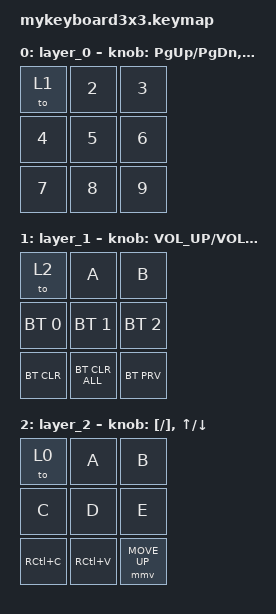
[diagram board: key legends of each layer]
#include <behaviors.dtsi>
#include <dt-bindings/zmk/bt.h>
#include <dt-bindings/zmk/keys.h>
#include <dt-bindings/zmk/pointing.h>

/ {
    behaviors {
        // 第一个编码器的行为

        rot_kp_1: sensor_rotate_kp_1 {
            compatible = "zmk,behavior-sensor-rotate-var";
            #sensor-binding-cells = <2>;
            bindings = <&kp>, <&kp>;
        };

        // 第二个编码器的行为

        rot_kp_2: sensor_rotate_kp_2 {
            compatible = "zmk,behavior-sensor-rotate-var";
            #sensor-binding-cells = <2>;
            bindings = <&kp>, <&kp>;
        };
    };

    keymap {
        compatible = "zmk,keymap";

        layer_0 {
            bindings = <
&to 1   &kp N2  &kp N3
&kp N4  &kp N5  &kp N6
&kp N7  &kp N8  &kp N9
            >;

            // 第一个编码器的绑定

            sensor-bindings =
                <&rot_kp_1 PG_UP PG_DN>,
                // 编码器1：旋转触发 PG_UP 和 PG_DN,,,
                <&rot_kp_2 LEFT RIGHT>;

            // 编码器2：旋转触发 LEFT 和 RIGHT
        };

        layer_1 {
            bindings = <
&to 2         &kp A           &kp B
&bt BT_SEL 0  &bt BT_SEL 1    &bt BT_SEL 2
&bt BT_CLR    &bt BT_CLR_ALL  &bt BT_PRV
            >;

            sensor-bindings =
                <&inc_dec_kp C_VOL_UP C_VOL_DN>,
                <&inc_dec_kp C_BRI_UP C_BRI_DEC>;
        };

        layer_2 {
            bindings = <
&to 0      &kp A      &kp B
&kp C      &kp D      &kp E
&kp RC(C)  &kp RC(V)  &mmv MOVE_UP
            >;

            sensor-bindings =
                <&inc_dec_kp LEFT_BRACKET RIGHT_BRACKET>,
                <&inc_dec_kp UP DOWN>;
        };
    };
};
